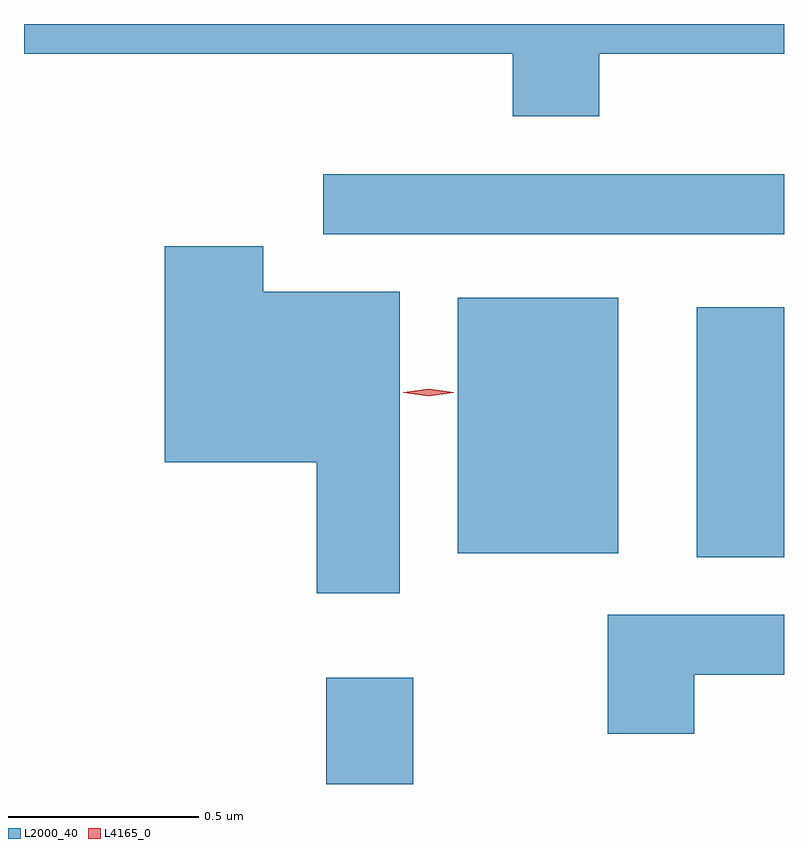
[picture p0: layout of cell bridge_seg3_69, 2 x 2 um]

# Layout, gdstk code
import gdstk
lib = gdstk.Library(unit=1e-6, precision=1e-09)
def R(c, l, rs):  # rectangles x0, y0, x1, y1
    for r in rs: c.add(gdstk.rectangle(r[:2], r[2:], *l))
def P(c, l, *ps):  # polygons
    for p in ps: c.add(gdstk.Polygon(p, *l))
L2000_40 = (2000, 40)
L4165_0 = (4165, 0)

bridge_seg3_69 = lib.new_cell('bridge_seg3_69')
R(bridge_seg3_69, L2000_40, [(1118.861,1190.694,1119.089,1190.974), (1119.836,1191.291,1120.065,1191.949), (1119.206,1191.301,1119.629,1191.974), (1118.853,1192.141,1120.065,1192.299)])
P(bridge_seg3_69, L2000_40, [(1119.579,1192.616),(1120.065,1192.616),(1120.065,1192.694),(1118.065,1192.694),(1118.065,1192.616),(1119.351,1192.616),(1119.351,1192.451),(1119.579,1192.451)],
  [(1119.054,1191.989),(1118.694,1191.989),(1118.694,1192.109),(1118.436,1192.109),(1118.436,1191.541),(1118.836,1191.541),(1118.836,1191.196),(1119.054,1191.196)],
  [(1119.829,1190.981),(1120.065,1190.981),(1120.065,1191.139),(1119.601,1191.139),(1119.601,1190.826),(1119.829,1190.826)])
P(bridge_seg3_69, L4165_0, [(1119.13,1191.714),(1119.064,1191.724),(1119.063,1191.724),(1119.064,1191.725),(1119.13,1191.734),(1119.196,1191.725),(1119.196,1191.724),(1119.196,1191.724)])

lib.write_gds('bridge_seg3_69.gds')
